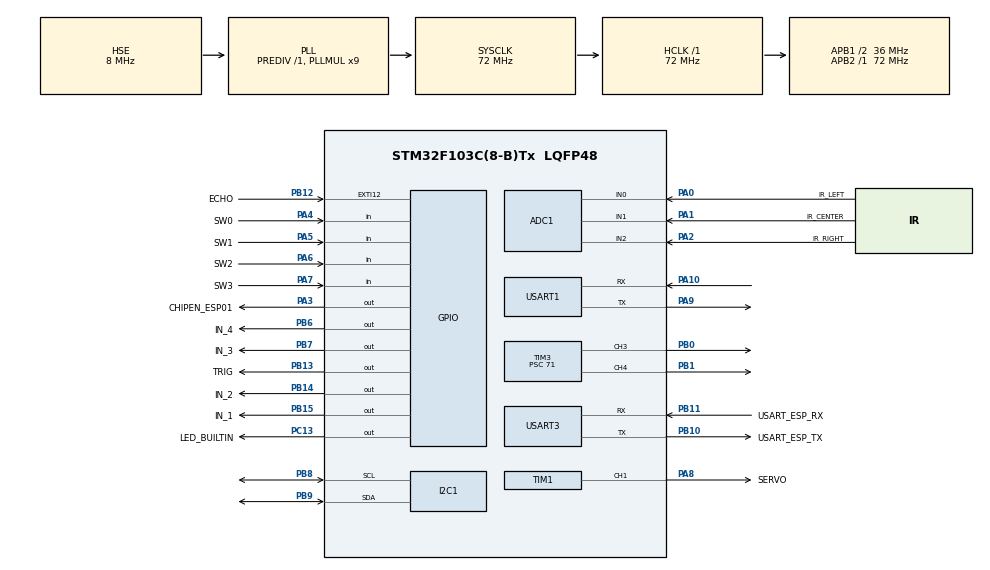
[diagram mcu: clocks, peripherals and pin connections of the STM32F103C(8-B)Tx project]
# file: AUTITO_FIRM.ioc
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ADC1.Channel-0\#ChannelRegularConversion=ADC_CHANNEL_0
ADC1.Channel-1\#ChannelRegularConversion=ADC_CHANNEL_1
ADC1.Channel-2\#ChannelRegularConversion=ADC_CHANNEL_2
ADC1.ContinuousConvMode=DISABLE
ADC1.ExternalTrigConv=ADC_EXTERNALTRIGCONV_T4_CC4
ADC1.NbrOfConversion=3
ADC1.NbrOfConversionFlag=1
ADC1.Rank-0\#ChannelRegularConversion=1
ADC1.Rank-1\#ChannelRegularConversion=2
ADC1.Rank-2\#ChannelRegularConversion=3
ADC1.SamplingTime-0\#ChannelRegularConversion=ADC_SAMPLETIME_239CYCLES_5
ADC1.SamplingTime-1\#ChannelRegularConversion=ADC_SAMPLETIME_239CYCLES_5
ADC1.SamplingTime-2\#ChannelRegularConversion=ADC_SAMPLETIME_239CYCLES_5
ADC1.master=1
Dma.ADC1.0.Direction=DMA_PERIPH_TO_MEMORY
Dma.ADC1.0.Instance=DMA1_Channel1
Dma.ADC1.0.MemDataAlignment=DMA_MDATAALIGN_HALFWORD
Dma.ADC1.0.MemInc=DMA_MINC_ENABLE
Dma.ADC1.0.Mode=DMA_CIRCULAR
Dma.ADC1.0.PeriphDataAlignment=DMA_PDATAALIGN_HALFWORD
Dma.ADC1.0.PeriphInc=DMA_PINC_DISABLE
Dma.ADC1.0.Priority=DMA_PRIORITY_LOW
Dma.I2C1_TX.1.Direction=DMA_MEMORY_TO_PERIPH
Dma.I2C1_TX.1.Instance=DMA1_Channel6
Dma.I2C1_TX.1.MemDataAlignment=DMA_MDATAALIGN_BYTE
Dma.I2C1_TX.1.MemInc=DMA_MINC_ENABLE
Dma.I2C1_TX.1.Mode=DMA_NORMAL
Dma.I2C1_TX.1.PeriphDataAlignment=DMA_PDATAALIGN_BYTE
Dma.I2C1_TX.1.PeriphInc=DMA_PINC_DISABLE
Dma.I2C1_TX.1.Priority=DMA_PRIORITY_LOW
Dma.Request0=ADC1
Dma.Request1=I2C1_TX
I2C1.I2C_Mode=I2C_Fast
Mcu.Family=STM32F1
Mcu.Name=STM32F103C(8-B)Tx
Mcu.Package=LQFP48
NVIC.ADC1_2_IRQn=true\:0\:0\:false\:false\:true\:true\:true\:true
NVIC.DMA1_Channel1_IRQn=true\:0\:0\:false\:false\:true\:false\:true\:true
NVIC.DMA1_Channel6_IRQn=true\:0\:0\:false\:false\:true\:false\:true\:true
NVIC.EXTI15_10_IRQn=true\:0\:0\:false\:false\:true\:true\:true\:true
NVIC.I2C1_ER_IRQn=true\:0\:0\:false\:false\:true\:true\:true\:true
NVIC.I2C1_EV_IRQn=true\:0\:0\:false\:false\:true\:true\:true\:true
NVIC.PriorityGroup=NVIC_PRIORITYGROUP_4
NVIC.USART3_IRQn=true\:0\:0\:false\:false\:true\:true\:true\:true
PA0-WKUP.GPIO_Label=IR_LEFT
PA0-WKUP.Signal=ADCx_IN0
PA1.GPIO_Label=IR_CENTER
PA1.Signal=ADCx_IN1
PA10.Mode=Asynchronous
PA10.Signal=USART1_RX
PA13.Mode=Serial_Wire
PA13.Signal=SYS_JTMS-SWDIO
PA14.Mode=Serial_Wire
PA14.Signal=SYS_JTCK-SWCLK
PA2.GPIO_Label=IR_RIGHT
PA2.Signal=ADCx_IN2
PA3.GPIO_Label=CHIPEN_ESP01
PA3.Signal=GPIO_Output
PA4.GPIO_Label=SW0
PA4.Signal=GPIO_Input
PA5.GPIO_Label=SW1
PA5.Signal=GPIO_Input
PA6.GPIO_Label=SW2
PA6.Signal=GPIO_Input
PA7.GPIO_Label=SW3
PA7.Signal=GPIO_Input
PA8.GPIO_Label=SERVO
PA8.Signal=S_TIM1_CH1
PA9.Mode=Asynchronous
PA9.Signal=USART1_TX
PB0.Signal=S_TIM3_CH3
PB1.Signal=S_TIM3_CH4
PB10.GPIO_Label=USART_ESP_TX
PB10.Mode=Asynchronous
PB10.Signal=USART3_TX
PB11.GPIO_Label=USART_ESP_RX
PB11.Mode=Asynchronous
PB11.Signal=USART3_RX
PB12.GPIO_Label=ECHO
PB12.GPIO_ModeDefaultEXTI=GPIO_MODE_IT_RISING_FALLING
PB12.Signal=GPXTI12
PB13.GPIO_Label=TRIG
PB13.Signal=GPIO_Output
PB14.GPIO_Label=IN_2
PB14.Signal=GPIO_Output
PB15.GPIO_Label=IN_1
PB15.Signal=GPIO_Output
PB6.GPIO_Label=IN_4
PB6.Signal=GPIO_Output
PB7.GPIO_Label=IN_3
PB7.Signal=GPIO_Output
PB8.Mode=I2C
PB8.Signal=I2C1_SCL
PB9.Mode=I2C
PB9.Signal=I2C1_SDA
PC13-TAMPER-RTC.GPIO_Label=LED_BUILTIN
PC13-TAMPER-RTC.Signal=GPIO_Output
PC14-OSC32_IN.Mode=LSE-External-Oscillator
PC14-OSC32_IN.Signal=RCC_OSC32_IN
PC15-OSC32_OUT.Mode=LSE-External-Oscillator
PC15-OSC32_OUT.Signal=RCC_OSC32_OUT
PD0-OSC_IN.Mode=HSE-External-Oscillator
PD0-OSC_IN.Signal=RCC_OSC_IN
PD1-OSC_OUT.Mode=HSE-External-Oscillator
PD1-OSC_OUT.Signal=RCC_OSC_OUT
ProjectManager.HeapSize=0x200
ProjectManager.StackSize=0x400
ProjectManager.TargetToolchain=STM32CubeIDE
RCC.ADCPresc=RCC_ADCPCLK2_DIV6
RCC.AHBFreq_Value=72000000
RCC.APB1CLKDivider=RCC_HCLK_DIV2
RCC.APB1Freq_Value=36000000
RCC.APB1TimFreq_Value=72000000
RCC.APB2Freq_Value=72000000
RCC.APB2TimFreq_Value=72000000
RCC.HCLKFreq_Value=72000000
RCC.PLLMUL=RCC_PLL_MUL9
RCC.PLLSourceVirtual=RCC_PLLSOURCE_HSE
RCC.SYSCLKFreq_VALUE=72000000
RCC.SYSCLKSource=RCC_SYSCLKSOURCE_PLLCLK
RCC.USBFreq_Value=72000000
SH.ADCx_IN0.0=ADC1_IN0,IN0
SH.ADCx_IN1.0=ADC1_IN1,IN1
SH.ADCx_IN2.0=ADC1_IN2,IN2
SH.S_TIM1_CH1.0=TIM1_CH1,PWM Generation1 CH1
SH.S_TIM3_CH3.0=TIM3_CH3,PWM Generation3 CH3
SH.S_TIM3_CH4.0=TIM3_CH4,PWM Generation4 CH4
TIM1.Channel-PWM\ Generation1\ CH1=TIM_CHANNEL_1
TIM1.Period=19999
TIM1.Prescaler=71
TIM2.Prescaler=35
TIM3.Channel-PWM\ Generation3\ CH3=TIM_CHANNEL_3
TIM3.Channel-PWM\ Generation4\ CH4=TIM_CHANNEL_4
TIM3.Period=9999
TIM3.Prescaler=71
TIM4.Channel-Output\ Compare4\ No\ Output=TIM_CHANNEL_4
TIM4.Period=124
TIM4.Prescaler=71
TIM4.Pulse-Output\ Compare4\ No\ Output=62
TIM4.TIM_MasterOutputTrigger=TIM_TRGO_OC4REF
USART1.VirtualMode=VM_ASYNC
USART3.VirtualMode=VM_ASYNC
VP_TIM1_VS_ClockSourceINT.Mode=Internal
VP_TIM2_VS_ClockSourceINT.Mode=Internal
VP_TIM3_VS_ClockSourceINT.Mode=Internal
VP_TIM4_VS_ClockSourceINT.Mode=Internal
VP_TIM4_VS_no_output4.Mode=Output Compare4 No Output
board=custom

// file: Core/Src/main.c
/* USER CODE BEGIN Header */
/**
  ******************************************************************************
  * @file           : main.c
  * @brief          : Main program body
  ******************************************************************************
  * @attention
  *
  * Copyright (c) 2026 STMicroelectronics.
  * All rights reserved.
  *
  * This software is licensed under terms that can be found in the LICENSE file
  * in the root directory of this software component.
  * If no LICENSE file comes with this software, it is provided AS-IS.
  *
  ******************************************************************************
  */
/* USER CODE END Header */
#include "main.h"

/* USER CODE BEGIN Includes */

#include <stdio.h>
#include "OLED.h" // Librería de la pantalla
#include "ESP01.h" //la librería del esp
#include <string.h>
#include "DisplayUI.h"
#include "hcsr04.h"
#include "Servo.h"
#include "protocolo.h"
#include "comandos.h"
#include <Button.h>
#include "seguidor.h" // ¡Verifica que esté escrito exactamente igual!

/* USER CODE END Includes */

ADC_HandleTypeDef hadc1;
DMA_HandleTypeDef hdma_adc1;

I2C_HandleTypeDef hi2c1;
DMA_HandleTypeDef hdma_i2c1_tx;

TIM_HandleTypeDef htim1;
TIM_HandleTypeDef htim2;
TIM_HandleTypeDef htim3;
TIM_HandleTypeDef htim4;

UART_HandleTypeDef huart1;
UART_HandleTypeDef huart3;

/* USER CODE BEGIN PV */

uint16_t valores_ir[3]; // [0]=IR_LEFT, [1]=IR_CENTER, [2]=IR_RIGHT
char uart_buf[50];      // Buffer temporal para el texto de USART
volatile uint8_t adc_listo = 0; // Flag para avisar que el DMA terminó
extern uint32_t ultimo_ack_ms;
/* USER CODE END PV */

void SystemClock_Config(void);
static void MX_GPIO_Init(void);
static void MX_DMA_Init(void);
static void MX_ADC1_Init(void);
static void MX_USART1_UART_Init(void);
static void MX_USART3_UART_Init(void);
static void MX_TIM4_Init(void);
static void MX_TIM3_Init(void);
static void MX_I2C1_Init(void);
static void MX_TIM2_Init(void);
static void MX_TIM1_Init(void);

/* USER CODE BEGIN 0 */
#include "DisplayUI.h"
#include "Button.h"

uint8_t rx_byte_esp;
// Variable global para usar el dato en tu UI
uint16_t distancia_actual_mm = 0;
// Instancia del sensor
HCSR04_t mi_sensor_ultra;

sSeguidorHandle mi_seguidor;

// --- FUNCIONES PUENTE PARA EL HC-SR04 ---

// Callback para disparar el pin TRIG
void Sensor_SetTrig(uint8_t state) {
    HAL_GPIO_WritePin(TRIG_GPIO_Port, TRIG_Pin, state ? GPIO_PIN_SET : GPIO_PIN_RESET);
}

// Callback cuando la librería termina de calcular la distancia
void Sensor_OnResult(float dist_mm) {
    distancia_actual_mm = (uint16_t)dist_mm; // Guardamos el valor
}

// ---- ESP01 PUENTE ----
void ESP_CHPD_Ctrl(uint8_t value) { HAL_GPIO_WritePin(CHIPEN_ESP01_GPIO_Port, CHIPEN_ESP01_Pin, value ? GPIO_PIN_SET : GPIO_PIN_RESET); }
int ESP_WriteUART(uint8_t value)  { if (HAL_UART_Transmit(&huart3, &value, 1, 2) == HAL_OK) return 1; return 0; }

void ESP_ImprimirDebug(const char *dbgStr) {
    if(ui_enable_uart) HAL_UART_Transmit(&huart1, (uint8_t*)dbgStr, strlen(dbgStr), 10);
    UI_AddLog(dbgStr); // Ahora se lo mandamos a la nueva librería visual
}

void ESP_EstadoCallback(_eESP01STATUS estado) {
    if (estado == ESP01_WIFI_NEW_IP) {
        char msg[60];
        sprintf(msg, "IP: %s", ESP01_GetLocalIP());
        UI_AddLog(msg);
    }
    else if (estado == ESP01_UDPTCP_CONNECTED) UI_AddLog(">>> UDP LISTO <<<");
}
// NUEVO: Acá caen los bytes puros que llegan por WiFi UDP
void ESP_RxPayload(uint8_t value) {
    Protocolo_InjectRX(value);
}

_sESP01Handle mi_esp = { .DoCHPD = ESP_CHPD_Ctrl, .WriteUSARTByte = ESP_WriteUART, .WriteByteToBufRX = ESP_RxPayload };

// ---- OLED PUENTE ----
int I2C_EscribirComando(uint8_t cmd) { if (HAL_I2C_Mem_Write(&hi2c1, 0x78, 0x00, 1, &cmd, 1, 10) == HAL_OK) return 1; return 0; }
int I2C_EscribirDatosDMA(uint8_t *data, uint16_t len) { if (HAL_I2C_Mem_Write_DMA(&hi2c1, 0x78, 0x40, 1, data, len) == HAL_OK) return 1; return 0; }
sOLEDHandle mi_oled = { .I2C_WriteCmd = I2C_EscribirComando, .I2C_WriteData_DMA = I2C_EscribirDatosDMA };

// ---- BOTONES PUENTE ----
uint8_t Leer_SW0(void) { return HAL_GPIO_ReadPin(GPIOA, SW0_Pin); }
sButtonHandle btn_sw0 = {
    .ReadPin = Leer_SW0,
    .longClickTimeMs = 800, // 0.8 seg para considerarlo pulsación larga
    .OnShortClick = UI_ShortClick, // Directo a la UI!
    .OnLongClick = UI_LongClick    // Directo a la UI!
};

// NUEVO: Variable para interceptar lo que llega por el cable UART desde la PC
uint8_t rx_byte_pc;

sServoHandle mi_servo;

// Función puente que le dice a la librería cómo interactuar con tu TIM1
void STM32_SetServoPWM(uint16_t pulse_us) {
    // Modificamos el registro Compare/Capture directamente para cambiar el ancho de pulso
    __HAL_TIM_SET_COMPARE(&htim1, TIM_CHANNEL_1, pulse_us);
}

/* USER CODE END 0 */

int main(void)
{

  /* MCU Configuration--------------------------------------------------------*/

  /* Reset of all peripherals, Initializes the Flash interface and the Systick. */
  HAL_Init();

  /* Configure the system clock */
  SystemClock_Config();

  /* Initialize all configured peripherals */
  MX_GPIO_Init();
  MX_DMA_Init();
  MX_ADC1_Init();
  MX_USART1_UART_Init();
  MX_USART3_UART_Init();
  MX_TIM4_Init();
  MX_TIM3_Init();
  MX_I2C1_Init();
  MX_TIM2_Init();
  MX_TIM1_Init();
  /* USER CODE BEGIN 2 */

  // 3. NUEVO: Arrancamos el OLED
    OLED_Init(&mi_oled);

    UI_Init();               // NUEVO

   // 2. Iniciamos los dos canales PWM del Timer 3 para los motores
   HAL_TIM_PWM_Start(&htim3, TIM_CHANNEL_3); // Motor Izquierdo (EN_A)
   HAL_TIM_PWM_Start(&htim3, TIM_CHANNEL_4); // Motor Derecho (EN_B)

   // 4. Arrancamos el ADC y nuestro metrónomo en modo Output Compare
     HAL_ADC_Start_DMA(&hadc1, (uint32_t*)valores_ir, 3);
     HAL_TIM_OC_Start(&htim4, TIM_CHANNEL_4); // <-- CLAVE: OC_Start

    // Mensaje de prueba (ya sabemos que anda)
    HAL_UART_Transmit(&huart1, (uint8_t*)"\r\n--- INICIANDO SISTEMA ---\r\n", 29, HAL_MAX_DELAY);

    // --- NUEVO: INICIO DEL ESP-01 ---

    // Forzamos el encendido físico apenas arranca el micro
          HAL_GPIO_WritePin(CHIPEN_ESP01_GPIO_Port, CHIPEN_ESP01_Pin, GPIO_PIN_SET);

      // 1. Dejamos el USART3 "a la escucha" del primer byte que mande el ESP01
      HAL_UART_Receive_IT(&huart3, &rx_byte_esp, 1);

      // 2. Inicializamos la librería
      ESP01_Init(&mi_esp);
      // Enganchamos la función espía ANTES de iniciar
      ESP01_AttachChangeState(ESP_EstadoCallback);
      ESP01_AttachDebugStr(ESP_ImprimirDebug); // <--- NUEVO: Activa el modo espía

      // 3. Configurá acá tu red de WiFi local
      ESP01_SetWIFI("Elstein-fibra", "sanluis_1509");

      // 4. (Opcional) Si vas a mandar telemetría a tu PC, poné la IP de tu compu
      ESP01_StartUDP("192.168.0.19", 8080, 8080);

      Button_Init(&btn_sw0);

      // --- NUEVO: INICIO DEL PROTOCOLO ---
        Protocolo_Init();
        Protocolo_SetCmdParser(Comandos_Parsear);

        // Dejamos la UART1 escuchando el primer byte de la PC
        HAL_UART_Receive_IT(&huart1, &rx_byte_pc, 1);

      // 1. Encendemos el cronómetro de alta resolución
        HAL_TIM_Base_Start(&htim2);

        // 2. Iniciamos la librería pasándole nuestras funciones puente
        HCSR04_Init(&mi_sensor_ultra, Sensor_SetTrig, Sensor_OnResult);

        // 1. Arrancamos la señal de PWM por hardware del Timer 1
          HAL_TIM_PWM_Start(&htim1, TIM_CHANNEL_1);

          // 2. Iniciamos nuestra librería vinculándola con la función puente
          Servo_Init(&mi_servo, STM32_SetServoPWM);

          // 3. NUEVO: Calibración fina del recorrido físico
          // Valores por defecto: 500 y 2500. Probad abriendo el rango:
          Servo_Calibrate(&mi_servo, 544, 2400);

          // ... inicializaciones ...
              Seguidor_Init(&mi_seguidor);
              // 2. Valores base agresivos de competición para morder la U grande:
                // (Nota: Estos valores viajan fijos al arrancar, pero después los podés pisar desde la HMI)
                mi_seguidor.Kp = 10;        // Proporcional intermedio para la escala 0-2000
                mi_seguidor.Ki = 0;         // Integral en 0 absoluto para evitar trompos en la U
                mi_seguidor.Kd = 40;        // Derivativo alto para amortiguar el chasis

                // Ajuste inercial del interceptor bloqueante de 90°:
                mi_seguidor.pwm_giro_ext = 8800;  // La rueda de afuera empuja con fuerza sorda
                mi_seguidor.pwm_giro_int = -2800; // La rueda de adentro va EN REVERSA activa (Giro tanque)

  /* USER CODE END 2 */

  /* Infinite loop */
  /* USER CODE BEGIN WHILE */
	uint32_t last_10ms = 0;
	uint32_t last_20ms_servo = 0;
	uint32_t last_100ms_ui = 0;
	uint32_t last_50ms_telem = 0;
	uint32_t last_1ms_ultra = 0;
	uint32_t last_100ms_ultra = 0;
	// Antes del while(1) en main.c
	HAL_ADC_Start_DMA(&hadc1, (uint32_t*)valores_ir, 3);

	while (1)
	{
		uint32_t tick = HAL_GetTick();

			  // 1. SEGURIDAD Y CONTROL DE COMUNICACIÓN
			  Comandos_ChequearTimeout();

			  // 2. TAREAS NO BLOQUEANTES DE HARDWARE (Se ejecutan libres)
			  ESP01_Task();
			  OLED_Task();
			  Button_Task(&btn_sw0);
			  Decode();
			  HCSR04_EventHandler(&mi_sensor_ultra);

			  // Base de tiempos de 10ms para comunicaciones pesadas
			  if (tick - last_10ms >= 10) {
				  last_10ms = tick;
				  ESP01_Timeout10ms();
			  }

			  // 3. MAQUINA DE ESTADOS DEL SEGUIDOR DE LÍNEA (¡UNA SOLA LLAMADA COMPLETA!)
		      // El control de avance de pines se maneja ADENTRO de seguidor.c, no acá.
			  Seguidor_Task(&mi_seguidor, valores_ir, mi_seguidor.vel_base);
			  if (mi_seguidor.modo_calibracion == 1) {
			      Seguidor_Calibrar(&mi_seguidor, valores_ir);
			  }

			  // 4. SENSOR ULTRASÓNICO (Muestreo espaciado y preciso)
			  if (tick - last_1ms_ultra >= 1) {
				  last_1ms_ultra = tick;
				  HCSR04_TickISR(&mi_sensor_ultra);
			  }
			  if (tick - last_100ms_ultra >= 100) {
				  last_100ms_ultra = tick;
				  HCSR04_Trigger(&mi_sensor_ultra);
			  }

			  // 5. SERVO MOTOR (Cada 20ms)
			  if (tick - last_20ms_servo >= 20) {
				  last_20ms_servo = tick;
				  Servo_Task(&mi_servo);
			  }

			  // 6. REFRESCO DE PANTALLA (10 FPS)
			  if (tick - last_100ms_ui >= 100) {
				  last_100ms_ui = tick;
				  uint8_t udp_ok = (ESP01_StateUDPTCP() == ESP01_UDPTCP_CONNECTED);
				  char* ip = ESP01_GetLocalIP();
				  UI_Render(valores_ir[0], valores_ir[1], valores_ir[2],
							distancia_actual_mm, ip, udp_ok, pc_conectada, &mi_seguidor);
			  }

			  // 7. ENVÍO DE TELEMETRÍA (20 FPS)
			  if (tick - last_50ms_telem >= 50) {
				  last_50ms_telem = tick;
				  Comandos_EnviarAlive();
				  Comandos_EnviarTelemetria(valores_ir[0], valores_ir[1], valores_ir[2], distancia_actual_mm);
				  Comandos_FlushTx();
			  }

			  // 8. CONTROL DEL ADC POR DMA
			  if (adc_listo) {
			      adc_listo = 0;
			      HAL_ADC_Start_DMA(&hadc1, (uint32_t*)valores_ir, 3);
			  }
	/* USER CODE END WHILE */

  }
}

void SystemClock_Config(void)
{
  RCC_OscInitTypeDef RCC_OscInitStruct = {0};
  RCC_ClkInitTypeDef RCC_ClkInitStruct = {0};
  RCC_PeriphCLKInitTypeDef PeriphClkInit = {0};

  /** Initializes the RCC Oscillators according to the specified parameters
  * in the RCC_OscInitTypeDef structure.
  */
  RCC_OscInitStruct.OscillatorType = RCC_OSCILLATORTYPE_HSE;
  RCC_OscInitStruct.HSEState = RCC_HSE_ON;
  RCC_OscInitStruct.HSEPredivValue = RCC_HSE_PREDIV_DIV1;
  RCC_OscInitStruct.HSIState = RCC_HSI_ON;
  RCC_OscInitStruct.PLL.PLLState = RCC_PLL_ON;
  RCC_OscInitStruct.PLL.PLLSource = RCC_PLLSOURCE_HSE;
  RCC_OscInitStruct.PLL.PLLMUL = RCC_PLL_MUL9;
  if (HAL_RCC_OscConfig(&RCC_OscInitStruct) != HAL_OK)
  {
    Error_Handler();
  }

  /** Initializes the CPU, AHB and APB buses clocks
  */
  RCC_ClkInitStruct.ClockType = RCC_CLOCKTYPE_HCLK|RCC_CLOCKTYPE_SYSCLK
                              |RCC_CLOCKTYPE_PCLK1|RCC_CLOCKTYPE_PCLK2;
  RCC_ClkInitStruct.SYSCLKSource = RCC_SYSCLKSOURCE_PLLCLK;
  RCC_ClkInitStruct.AHBCLKDivider = RCC_SYSCLK_DIV1;
  RCC_ClkInitStruct.APB1CLKDivider = RCC_HCLK_DIV2;
  RCC_ClkInitStruct.APB2CLKDivider = RCC_HCLK_DIV1;

  if (HAL_RCC_ClockConfig(&RCC_ClkInitStruct, FLASH_LATENCY_2) != HAL_OK)
  {
    Error_Handler();
  }
  PeriphClkInit.PeriphClockSelection = RCC_PERIPHCLK_ADC;
  PeriphClkInit.AdcClockSelection = RCC_ADCPCLK2_DIV6;
  if (HAL_RCCEx_PeriphCLKConfig(&PeriphClkInit) != HAL_OK)
  {
    Error_Handler();
  }
}

static void MX_ADC1_Init(void)
{

  ADC_ChannelConfTypeDef sConfig = {0};

  /** Common config
  */
  hadc1.Instance = ADC1;
  hadc1.Init.ScanConvMode = ADC_SCAN_ENABLE;
  hadc1.Init.ContinuousConvMode = DISABLE;
  hadc1.Init.DiscontinuousConvMode = DISABLE;
  hadc1.Init.ExternalTrigConv = ADC_EXTERNALTRIGCONV_T4_CC4;
  hadc1.Init.DataAlign = ADC_DATAALIGN_RIGHT;
  hadc1.Init.NbrOfConversion = 3;
  if (HAL_ADC_Init(&hadc1) != HAL_OK)
  {
    Error_Handler();
  }

  /** Configure Regular Channel
  */
  sConfig.Channel = ADC_CHANNEL_0;
  sConfig.Rank = ADC_REGULAR_RANK_1;
  sConfig.SamplingTime = ADC_SAMPLETIME_239CYCLES_5;
  if (HAL_ADC_ConfigChannel(&hadc1, &sConfig) != HAL_OK)
  {
    Error_Handler();
  }

  /** Configure Regular Channel
  */
  sConfig.Channel = ADC_CHANNEL_1;
  sConfig.Rank = ADC_REGULAR_RANK_2;
  if (HAL_ADC_ConfigChannel(&hadc1, &sConfig) != HAL_OK)
  {
    Error_Handler();
  }

  /** Configure Regular Channel
  */
  sConfig.Channel = ADC_CHANNEL_2;
  sConfig.Rank = ADC_REGULAR_RANK_3;
  if (HAL_ADC_ConfigChannel(&hadc1, &sConfig) != HAL_OK)
  {
    Error_Handler();
  }

}

static void MX_I2C1_Init(void)
{

  hi2c1.Instance = I2C1;
  hi2c1.Init.ClockSpeed = 400000;
  hi2c1.Init.DutyCycle = I2C_DUTYCYCLE_2;
  hi2c1.Init.OwnAddress1 = 0;
  hi2c1.Init.AddressingMode = I2C_ADDRESSINGMODE_7BIT;
  hi2c1.Init.DualAddressMode = I2C_DUALADDRESS_DISABLE;
  hi2c1.Init.OwnAddress2 = 0;
  hi2c1.Init.GeneralCallMode = I2C_GENERALCALL_DISABLE;
  hi2c1.Init.NoStretchMode = I2C_NOSTRETCH_DISABLE;
  if (HAL_I2C_Init(&hi2c1) != HAL_OK)
  {
    Error_Handler();
  }

}

static void MX_TIM1_Init(void)
{

  TIM_ClockConfigTypeDef sClockSourceConfig = {0};
  TIM_MasterConfigTypeDef sMasterConfig = {0};
  TIM_OC_InitTypeDef sConfigOC = {0};
  TIM_BreakDeadTimeConfigTypeDef sBreakDeadTimeConfig = {0};

  htim1.Instance = TIM1;
  htim1.Init.Prescaler = 71;
  htim1.Init.CounterMode = TIM_COUNTERMODE_UP;
  htim1.Init.Period = 19999;
  htim1.Init.ClockDivision = TIM_CLOCKDIVISION_DIV1;
  htim1.Init.RepetitionCounter = 0;
  htim1.Init.AutoReloadPreload = TIM_AUTORELOAD_PRELOAD_DISABLE;
  if (HAL_TIM_Base_Init(&htim1) != HAL_OK)
  {
    Error_Handler();
  }
  sClockSourceConfig.ClockSource = TIM_CLOCKSOURCE_INTERNAL;
  if (HAL_TIM_ConfigClockSource(&htim1, &sClockSourceConfig) != HAL_OK)
  {
    Error_Handler();
  }
  if (HAL_TIM_PWM_Init(&htim1) != HAL_OK)
  {
    Error_Handler();
  }
  sMasterConfig.MasterOutputTrigger = TIM_TRGO_RESET;
  sMasterConfig.MasterSlaveMode = TIM_MASTERSLAVEMODE_DISABLE;
  if (HAL_TIMEx_MasterConfigSynchronization(&htim1, &sMasterConfig) != HAL_OK)
  {
    Error_Handler();
  }
  sConfigOC.OCMode = TIM_OCMODE_PWM1;
  sConfigOC.Pulse = 0;
  sConfigOC.OCPolarity = TIM_OCPOLARITY_HIGH;
  sConfigOC.OCNPolarity = TIM_OCNPOLARITY_HIGH;
  sConfigOC.OCFastMode = TIM_OCFAST_DISABLE;
  sConfigOC.OCIdleState = TIM_OCIDLESTATE_RESET;
  sConfigOC.OCNIdleState = TIM_OCNIDLESTATE_RESET;
  if (HAL_TIM_PWM_ConfigChannel(&htim1, &sConfigOC, TIM_CHANNEL_1) != HAL_OK)
  {
    Error_Handler();
  }
  sBreakDeadTimeConfig.OffStateRunMode = TIM_OSSR_DISABLE;
  sBreakDeadTimeConfig.OffStateIDLEMode = TIM_OSSI_DISABLE;
  sBreakDeadTimeConfig.LockLevel = TIM_LOCKLEVEL_OFF;
  sBreakDeadTimeConfig.DeadTime = 0;
  sBreakDeadTimeConfig.BreakState = TIM_BREAK_DISABLE;
  sBreakDeadTimeConfig.BreakPolarity = TIM_BREAKPOLARITY_HIGH;
  sBreakDeadTimeConfig.AutomaticOutput = TIM_AUTOMATICOUTPUT_DISABLE;
  if (HAL_TIMEx_ConfigBreakDeadTime(&htim1, &sBreakDeadTimeConfig) != HAL_OK)
  {
    Error_Handler();
  }
  HAL_TIM_MspPostInit(&htim1);

}

static void MX_TIM2_Init(void)
{

  TIM_ClockConfigTypeDef sClockSourceConfig = {0};
  TIM_MasterConfigTypeDef sMasterConfig = {0};

  htim2.Instance = TIM2;
  htim2.Init.Prescaler = 35;
  htim2.Init.CounterMode = TIM_COUNTERMODE_UP;
  htim2.Init.Period = 65535;
  htim2.Init.ClockDivision = TIM_CLOCKDIVISION_DIV1;
  htim2.Init.AutoReloadPreload = TIM_AUTORELOAD_PRELOAD_DISABLE;
  if (HAL_TIM_Base_Init(&htim2) != HAL_OK)
  {
    Error_Handler();
  }
  sClockSourceConfig.ClockSource = TIM_CLOCKSOURCE_INTERNAL;
  if (HAL_TIM_ConfigClockSource(&htim2, &sClockSourceConfig) != HAL_OK)
  {
    Error_Handler();
  }
  sMasterConfig.MasterOutputTrigger = TIM_TRGO_RESET;
  sMasterConfig.MasterSlaveMode = TIM_MASTERSLAVEMODE_DISABLE;
  if (HAL_TIMEx_MasterConfigSynchronization(&htim2, &sMasterConfig) != HAL_OK)
  {
    Error_Handler();
  }

}

static void MX_TIM3_Init(void)
{

  TIM_ClockConfigTypeDef sClockSourceConfig = {0};
  TIM_MasterConfigTypeDef sMasterConfig = {0};
  TIM_OC_InitTypeDef sConfigOC = {0};

  htim3.Instance = TIM3;
  htim3.Init.Prescaler = 71;
  htim3.Init.CounterMode = TIM_COUNTERMODE_UP;
  htim3.Init.Period = 9999;
  htim3.Init.ClockDivision = TIM_CLOCKDIVISION_DIV1;
  htim3.Init.AutoReloadPreload = TIM_AUTORELOAD_PRELOAD_DISABLE;
  if (HAL_TIM_Base_Init(&htim3) != HAL_OK)
  {
    Error_Handler();
  }
  sClockSourceConfig.ClockSource = TIM_CLOCKSOURCE_INTERNAL;
  if (HAL_TIM_ConfigClockSource(&htim3, &sClockSourceConfig) != HAL_OK)
  {
    Error_Handler();
  }
  if (HAL_TIM_PWM_Init(&htim3) != HAL_OK)
  {
    Error_Handler();
  }
  sMasterConfig.MasterOutputTrigger = TIM_TRGO_RESET;
  sMasterConfig.MasterSlaveMode = TIM_MASTERSLAVEMODE_DISABLE;
  if (HAL_TIMEx_MasterConfigSynchronization(&htim3, &sMasterConfig) != HAL_OK)
  {
    Error_Handler();
  }
  sConfigOC.OCMode = TIM_OCMODE_PWM1;
  sConfigOC.Pulse = 0;
  sConfigOC.OCPolarity = TIM_OCPOLARITY_HIGH;
  sConfigOC.OCFastMode = TIM_OCFAST_DISABLE;
  if (HAL_TIM_PWM_ConfigChannel(&htim3, &sConfigOC, TIM_CHANNEL_3) != HAL_OK)
  {
    Error_Handler();
  }
  if (HAL_TIM_PWM_ConfigChannel(&htim3, &sConfigOC, TIM_CHANNEL_4) != HAL_OK)
  {
    Error_Handler();
  }
  HAL_TIM_MspPostInit(&htim3);

}

static void MX_TIM4_Init(void)
{

  TIM_ClockConfigTypeDef sClockSourceConfig = {0};
  TIM_MasterConfigTypeDef sMasterConfig = {0};
  TIM_OC_InitTypeDef sConfigOC = {0};

  htim4.Instance = TIM4;
  htim4.Init.Prescaler = 71;
  htim4.Init.CounterMode = TIM_COUNTERMODE_UP;
  htim4.Init.Period = 124;
  htim4.Init.ClockDivision = TIM_CLOCKDIVISION_DIV1;
  htim4.Init.AutoReloadPreload = TIM_AUTORELOAD_PRELOAD_DISABLE;
  if (HAL_TIM_Base_Init(&htim4) != HAL_OK)
  {
    Error_Handler();
  }
  sClockSourceConfig.ClockSource = TIM_CLOCKSOURCE_INTERNAL;
  if (HAL_TIM_ConfigClockSource(&htim4, &sClockSourceConfig) != HAL_OK)
  {
    Error_Handler();
  }
  if (HAL_TIM_OC_Init(&htim4) != HAL_OK)
  {
    Error_Handler();
  }
  sMasterConfig.MasterOutputTrigger = TIM_TRGO_OC4REF;
  sMasterConfig.MasterSlaveMode = TIM_MASTERSLAVEMODE_DISABLE;
  if (HAL_TIMEx_MasterConfigSynchronization(&htim4, &sMasterConfig) != HAL_OK)
  {
    Error_Handler();
  }
  sConfigOC.OCMode = TIM_OCMODE_TIMING;
  sConfigOC.Pulse = 62;
  sConfigOC.OCPolarity = TIM_OCPOLARITY_HIGH;
  sConfigOC.OCFastMode = TIM_OCFAST_DISABLE;
  if (HAL_TIM_OC_ConfigChannel(&htim4, &sConfigOC, TIM_CHANNEL_4) != HAL_OK)
  {
    Error_Handler();
  }
  /* USER CODE BEGIN TIM4_Init 2 */
  // Forzamos la configuración del Canal 4 que el CubeMX omitió

    sConfigOC.OCMode = TIM_OCMODE_PWM1; // Modo Output Compare interno
    sConfigOC.Pulse = 62;                 // Disparo a la mitad del período
    sConfigOC.OCPolarity = TIM_OCPOLARITY_HIGH;
    sConfigOC.OCFastMode = TIM_OCFAST_DISABLE;

    HAL_TIM_OC_ConfigChannel(&htim4, &sConfigOC, TIM_CHANNEL_4);
  /* USER CODE END TIM4_Init 2 */

}

static void MX_USART1_UART_Init(void)
{

  huart1.Instance = USART1;
  huart1.Init.BaudRate = 115200;
  huart1.Init.WordLength = UART_WORDLENGTH_8B;
  huart1.Init.StopBits = UART_STOPBITS_1;
  huart1.Init.Parity = UART_PARITY_NONE;
  huart1.Init.Mode = UART_MODE_TX_RX;
  huart1.Init.HwFlowCtl = UART_HWCONTROL_NONE;
  huart1.Init.OverSampling = UART_OVERSAMPLING_16;
  if (HAL_UART_Init(&huart1) != HAL_OK)
  {
    Error_Handler();
  }

}

static void MX_USART3_UART_Init(void)
{

  huart3.Instance = USART3;
  huart3.Init.BaudRate = 115200;
  huart3.Init.WordLength = UART_WORDLENGTH_8B;
  huart3.Init.StopBits = UART_STOPBITS_1;
  huart3.Init.Parity = UART_PARITY_NONE;
  huart3.Init.Mode = UART_MODE_TX_RX;
  huart3.Init.HwFlowCtl = UART_HWCONTROL_NONE;
  huart3.Init.OverSampling = UART_OVERSAMPLING_16;
  if (HAL_UART_Init(&huart3) != HAL_OK)
  {
    Error_Handler();
  }

}

static void MX_DMA_Init(void)
{

  /* DMA controller clock enable */
  __HAL_RCC_DMA1_CLK_ENABLE();

  /* DMA interrupt init */
  /* DMA1_Channel1_IRQn interrupt configuration */
  HAL_NVIC_SetPriority(DMA1_Channel1_IRQn, 0, 0);
  HAL_NVIC_EnableIRQ(DMA1_Channel1_IRQn);
  /* DMA1_Channel6_IRQn interrupt configuration */
  HAL_NVIC_SetPriority(DMA1_Channel6_IRQn, 0, 0);
  HAL_NVIC_EnableIRQ(DMA1_Channel6_IRQn);

}

static void MX_GPIO_Init(void)
{
  GPIO_InitTypeDef GPIO_InitStruct = {0};

  /* GPIO Ports Clock Enable */
  __HAL_RCC_GPIOC_CLK_ENABLE();
  __HAL_RCC_GPIOD_CLK_ENABLE();
  __HAL_RCC_GPIOA_CLK_ENABLE();
  __HAL_RCC_GPIOB_CLK_ENABLE();

  /*Configure GPIO pin Output Level */
  HAL_GPIO_WritePin(LED_BUILTIN_GPIO_Port, LED_BUILTIN_Pin, GPIO_PIN_RESET);

  /*Configure GPIO pin Output Level */
  HAL_GPIO_WritePin(CHIPEN_ESP01_GPIO_Port, CHIPEN_ESP01_Pin, GPIO_PIN_RESET);

  /*Configure GPIO pin Output Level */
  HAL_GPIO_WritePin(GPIOB, TRIG_Pin|IN_2_Pin|IN_1_Pin|IN_4_Pin
                          |IN_3_Pin, GPIO_PIN_RESET);

  /*Configure GPIO pin : LED_BUILTIN_Pin */
  GPIO_InitStruct.Pin = LED_BUILTIN_Pin;
  GPIO_InitStruct.Mode = GPIO_MODE_OUTPUT_PP;
  GPIO_InitStruct.Pull = GPIO_NOPULL;
  GPIO_InitStruct.Speed = GPIO_SPEED_FREQ_LOW;
  HAL_GPIO_Init(LED_BUILTIN_GPIO_Port, &GPIO_InitStruct);

  /*Configure GPIO pin : CHIPEN_ESP01_Pin */
  GPIO_InitStruct.Pin = CHIPEN_ESP01_Pin;
  GPIO_InitStruct.Mode = GPIO_MODE_OUTPUT_PP;
  GPIO_InitStruct.Pull = GPIO_NOPULL;
  GPIO_InitStruct.Speed = GPIO_SPEED_FREQ_LOW;
  HAL_GPIO_Init(CHIPEN_ESP01_GPIO_Port, &GPIO_InitStruct);

  /*Configure GPIO pins : SW0_Pin SW1_Pin SW2_Pin SW3_Pin */
  GPIO_InitStruct.Pin = SW0_Pin|SW1_Pin|SW2_Pin|SW3_Pin;
  GPIO_InitStruct.Mode = GPIO_MODE_INPUT;
  GPIO_InitStruct.Pull = GPIO_NOPULL;
  HAL_GPIO_Init(GPIOA, &GPIO_InitStruct);

  /*Configure GPIO pin : ECHO_Pin */
  GPIO_InitStruct.Pin = ECHO_Pin;
  GPIO_InitStruct.Mode = GPIO_MODE_IT_RISING_FALLING;
  GPIO_InitStruct.Pull = GPIO_NOPULL;
  HAL_GPIO_Init(ECHO_GPIO_Port, &GPIO_InitStruct);

  /*Configure GPIO pins : TRIG_Pin IN_2_Pin IN_1_Pin IN_4_Pin
                           IN_3_Pin */
  GPIO_InitStruct.Pin = TRIG_Pin|IN_2_Pin|IN_1_Pin|IN_4_Pin
                          |IN_3_Pin;
  GPIO_InitStruct.Mode = GPIO_MODE_OUTPUT_PP;
  GPIO_InitStruct.Pull = GPIO_NOPULL;
  GPIO_InitStruct.Speed = GPIO_SPEED_FREQ_LOW;
  HAL_GPIO_Init(GPIOB, &GPIO_InitStruct);

  /* EXTI interrupt init*/
  HAL_NVIC_SetPriority(EXTI15_10_IRQn, 0, 0);
  HAL_NVIC_EnableIRQ(EXTI15_10_IRQn);

}

/* USER CODE BEGIN 4 */
void HAL_ADC_ConvCpltCallback(ADC_HandleTypeDef* hadc)
{
  if (hadc->Instance == ADC1)
  {
    adc_listo = 1; // Le avisamos al while(1) que los datos están listos
  }
}

// NUEVO: Le avisamos a la librería OLED que el DMA terminó su trabajo
void HAL_I2C_MemTxCpltCallback(I2C_HandleTypeDef *hi2c)
{
    if (hi2c->Instance == I2C1)
    {
        OLED_DMA_Callback();
    }
}

// Callback que se ejecuta cada vez que entra 1 byte por cualquier USART
void HAL_UART_RxCpltCallback(UART_HandleTypeDef *huart)
{
    // Datos del ESP-01
    if (huart->Instance == USART3) {
        ESP01_WriteRX(rx_byte_esp);
        HAL_UART_Receive_IT(&huart3, &rx_byte_esp, 1);
    }

    // NUEVO: Datos de la PC por cable
    if (huart->Instance == USART1) {
        Protocolo_InjectRX(rx_byte_pc);
        HAL_UART_Receive_IT(&huart1, &rx_byte_pc, 1);
    }
}

// NUEVO: Blindaje contra el grito de 74880 baudios del ESP-01
void HAL_UART_ErrorCallback(UART_HandleTypeDef *huart)
{
    if (huart->Instance == USART3)
    {
        // Si la UART falla por leer basura (Framing Error/Overrun),
        // limpiamos las banderas de error internamente y volvemos a armar la trampa
        HAL_UART_Receive_IT(&huart3, &rx_byte_esp, 1);
    }
}

void HAL_GPIO_EXTI_Callback(uint16_t GPIO_Pin) {
    if (GPIO_Pin == ECHO_Pin) {
        // Le pasamos a la librería: la instancia, los ticks actuales del TIM2, y el estado actual del pin
        HCSR04_UpdateFromISR(&mi_sensor_ultra,
                             __HAL_TIM_GET_COUNTER(&htim2),
                             HAL_GPIO_ReadPin(ECHO_GPIO_Port, ECHO_Pin));
    }
}

/* USER CODE END 4 */

void Error_Handler(void)
{
  __disable_irq();
  while (1)
  {
  }
}
